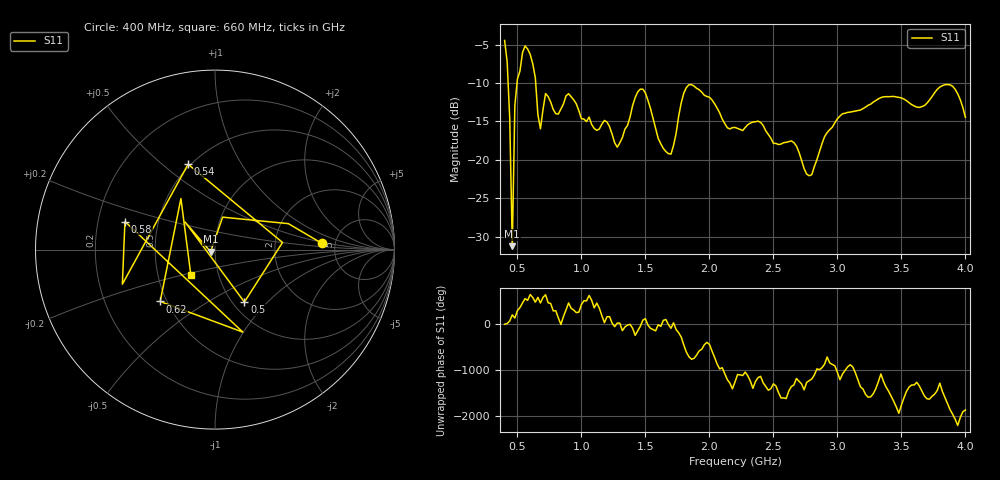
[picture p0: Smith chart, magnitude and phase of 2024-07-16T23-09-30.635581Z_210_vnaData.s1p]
!Created with skrf (http://scikit-rf.org).
# Hz S RI R 50.0
!freq ReS11 ImS11
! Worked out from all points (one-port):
!   181 points, 400 MHz to 4 GHz, reference 50 ohm
!   lowest |S11| = -31.2 dB at 460 MHz (marker M1), VSWR 1.06, Z = 47.6 - j1.18 ohm
!   |S11| at or under -10 dB: 427.4 MHz to 497.1 MHz (69.66 MHz wide, 15.1 % of centre); 642.8 MHz to end of sweep
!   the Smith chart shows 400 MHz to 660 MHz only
!   S11 on the Smith chart (normalised r, x): 400 MHz: 3.92, +0.42; 500 MHz: 1.13, -0.74; 540 MHz: 0.49, +0.61; 580 MHz: 0.32, +0.14; 620 MHz: 0.46, -0.32; 660 MHz: 0.74, -0.22
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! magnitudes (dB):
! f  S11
! 400 MHz  -4.5
! 420 MHz  -7.3
! 440 MHz  -14.6
! 460 MHz  -31.2
! 480 MHz  -12.9
! 500 MHz  -9.5
! 540 MHz  -6.0
! 580 MHz  -5.6
! 620 MHz  -7.5
! 660 MHz  -14.1
! 680 MHz  -16.0
! 720 MHz  -11.4
! 800 MHz  -14.0
! 860 MHz  -12.7
! 900 MHz  -11.4
! 1.3 GHz  -17.8
! 1.46 GHz  -10.8
! 1.68 GHz  -19.2
! 1.76 GHz  -14.3
! 1.86 GHz  -10.2
! 2.2 GHz  -15.8
! 2.66 GHz  -17.8
! 2.8 GHz  -21.9
! 2.9 GHz  -17.0
! 3.1 GHz  -13.8
! 3.56 GHz  -12.6
! 3.88 GHz  -10.2
! 4 GHz  -14.5
